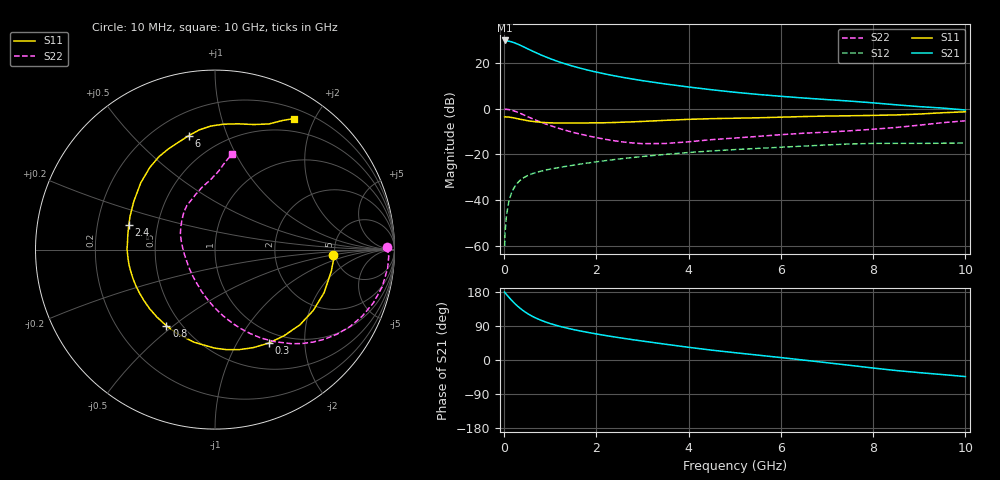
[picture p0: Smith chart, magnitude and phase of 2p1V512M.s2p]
! (c) 2009  Infineon Technologies AG, Munich
! Infineon Technologies  Discrete & RF Semiconductors
! BFP420
! VCE =  1.5 V,  IC =  12 mA
! Common Emitter S-Parameters:  Nov 2009
# GHz  S  MA  R  50
!  f  S11  S21  S12  S22
! GHz  MAG  ANG  MAG  ANG  MAG  ANG  MAG  ANG
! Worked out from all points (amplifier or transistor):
!   46 points, 10 MHz to 10 GHz, reference 50 ohm
!   highest |S21| = 29.7 dB at 10 MHz (marker M1)
!   |S21| within 3 dB of that: start of sweep to 444.5 MHz
!   unconditionally stable (mu >= 1): 2.155 GHz to end of sweep
!   at 300 MHz: K = 0.22, MSG = 30.2 dB, |S12| = -32.2 dB
!   at 1.7 GHz: K = 0.88, MSG = 20.7 dB, |S12| = -24.0 dB
!   at 10 GHz: K = 1.08, MAG = 5.5 dB, |S12| = -15.0 dB
!   lowest NFmin = 0.95 dB at 900 MHz
!   S11 on the Smith chart (normalised r, x): 10 MHz: 4.80, -0.47; 300 MHz: 0.84, -1.36; 800 MHz: 0.42, -0.47; 2.4 GHz: 0.34, +0.12; 6 GHz: 0.34, +0.74; 10 GHz: 0.32, +1.73
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0.01  0.6581 -2.4  30.72 179.3  0.001 97.8  0.9601 0.8
0.02  0.6632 -4.4  30.05 177.3  0.0019 89.4  0.9687 -2.3
0.05  0.6592 -10.6  30 172.9  0.0047 86.4  0.9675 -6.1
0.1  0.6535 -21.6  29.66 165.9  0.0093 80.7  0.9546 -12.5
0.15  0.6441 -31.8  28.85 159.1  0.0137 76.4  0.931 -18.6
0.2  0.6319 -41.7  27.85 152.8  0.0177 72.2  0.9005 -24.3
0.25  0.615 -51.3  26.59 146.7  0.0213 68.2  0.8657 -29.7
0.3  0.6006 -60.2  25.4 141.2  0.0245 65.0  0.8274 -34.7
0.4  0.5734 -76.4  22.86 131.4  0.03 59.2  0.75 -43.4
0.5  0.5484 -90.5  20.44 123.1  0.0343 55.0  0.6765 -50.8
0.6  0.529 -102.8  18.3 115.9  0.0378 51.7  0.6112 -57.1
0.8  0.5032 -122.6  14.82 104.8  0.0433 47.7  0.5056 -67.4
1  0.491 -138.1  12.3 96.1  0.048 45.5  0.4271 -76.0
1.2  0.4854 -150.3  10.41 89.0  0.0522 44.1  0.3679 -83.6
1.7  0.4867 -173.1  7.408 75.5  0.0628 42.0  0.271 -100.8
2.4  0.4992 164.2  5.18 60.7  0.0778 38.6  0.1982 -126.2
3.5  0.5562 138.1  3.446 41.6  0.1006 31.4  0.1737 -173.3
5.5  0.6317 108.8  2.044 12.9  0.1359 15.7  0.2481 137.9
6  0.6519 102.9  1.858 6.4  0.144 11.8  0.2704 130.0
7  0.6887 92.0  1.575 -7.2  0.1615 3.0  0.3072 115.2
8.5  0.7293 72.8  1.212 -27.8  0.1747 -13.3  0.3886 93.9
10  0.8527 58.9  0.933 -43.7  0.1776 -23.8  0.5433 79.7
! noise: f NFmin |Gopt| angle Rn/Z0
0.9  0.95  0.03  -151  0.13
1.8  1.27  0.13  -152  0.12
2.4  1.38  0.13  -160  0.14
3  1.43  0.22  -145  0.13
4  1.58  0.35  -123  0.17
5  2.03  0.43  -103  0.28
6  2.4  0.47  -91  0.43
